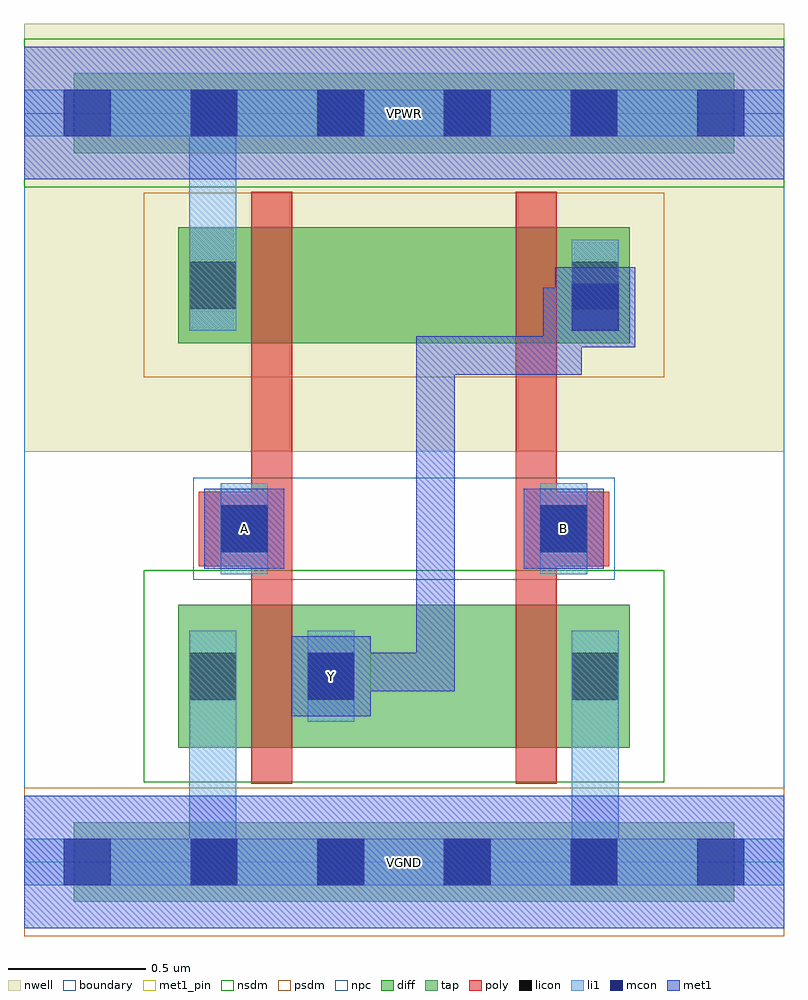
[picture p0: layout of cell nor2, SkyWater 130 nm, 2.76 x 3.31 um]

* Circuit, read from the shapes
.subckt nor2 A B VGND VPWR Y
XM1 Y A VGND VGND sky130_fd_pr__nfet_01v8 w=0.52 l=0.15
XM2 VGND B Y VGND sky130_fd_pr__nfet_01v8 w=0.52 l=0.15
XM3 n1 A VPWR VPWR sky130_fd_pr__pfet_01v8 w=0.42 l=0.15
XM4 Y B n1 VPWR sky130_fd_pr__pfet_01v8 w=0.42 l=0.15
.ends

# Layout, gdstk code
import gdstk
lib = gdstk.Library(unit=1e-6, precision=1e-09)
def R(c, l, rs):  # rectangles x0, y0, x1, y1
    for r in rs: c.add(gdstk.rectangle(r[:2], r[2:], *l))
def A(c, l, x, y, w, h, nx, ny, dx, dy):  # array of equal rectangles
    R(c, l, [(x+i*dx, y+j*dy, x+i*dx+w, y+j*dy+h) for i in range(nx) for j in range(ny)])
nwell = (64, 20)
diff = (65, 20)
tap = (65, 44)
poly = (66, 20)
licon = (66, 44)
li1 = (67, 20)
mcon = (67, 44)
met1_pin = (68, 16)
met1 = (68, 20)
nsdm = (93, 44)
psdm = (94, 20)
npc = (95, 20)
boundary = (235, 4)

nor2 = lib.new_cell('nor2')
R(nor2, nwell, [(0,1.49,2.76,3.045)])
R(nor2, diff, [(0.56,0.415,2.2,0.935), (0.56,1.885,2.2,2.305)])
R(nor2, tap, [(0.18,-0.145,2.58,0.145), (0.18,2.575,2.58,2.865)])
R(nor2, poly, [(0.825,0.285,0.975,2.435), (1.785,0.285,1.935,2.435), (0.635,1.075,0.965,1.345), (1.795,1.075,2.125,1.345)])
A(nor2, licon, 0.605, -0.085, 0.17, 0.17, 4, 2, 0.46, 2.72)
R(nor2, licon, [(0.6,0.59,0.77,0.76), (1.03,0.59,1.2,0.76), (1.99,0.59,2.16,0.76), (0.715,1.125,0.885,1.295), (1.875,1.125,2.045,1.295), (0.6,2.01,0.77,2.18), (1.99,2.01,2.16,2.18)])
R(nor2, li1, [(0,-0.085,2.76,0.085), (0.6,-0.085,0.77,0.84), (1.99,-0.085,2.16,0.84), (0.6,0.51,0.77,0.84), (1.03,0.51,1.2,0.84), (1.99,0.51,2.16,0.84), (0.715,1.045,0.885,1.375), (1.875,1.045,2.045,1.375), (0.6,1.93,0.77,2.26), (0.6,1.93,0.77,2.805), (1.99,1.93,2.16,2.26), (0,2.635,2.76,2.805)])
A(nor2, mcon, 0.145, -0.085, 0.17, 0.17, 6, 2, 0.46, 2.72)
R(nor2, mcon, [(1.03,0.59,1.2,0.76), (0.715,1.125,0.885,1.295), (1.875,1.125,2.045,1.295), (1.99,1.93,2.16,2.1)])
R(nor2, met1_pin, [(0,-0.24,2.76,0.24), (0.97,0.53,1.26,0.82), (0.655,1.065,0.945,1.355), (1.815,1.065,2.105,1.355), (0,2.48,2.76,2.96)])
R(nor2, met1, [(0,-0.24,2.76,0.24), (0.97,0.53,1.26,0.82), (1.08,0.62,1.22,0.76), (1.08,0.62,1.565,0.76), (1.425,0.62,1.565,1.91), (0.655,1.065,0.945,1.355), (1.815,1.065,2.105,1.355), (1.425,1.77,2.025,1.91), (1.885,1.77,2.025,2.085), (1.93,1.87,2.22,2.16), (1.885,1.91,2.025,1.945), (1.885,1.91,2.025,1.945), (1.885,1.91,2.025,1.945), (1.885,1.91,2.025,1.945), (1.885,1.91,2.025,1.945), (1.885,1.91,2.025,1.945), (1.885,1.945,2.145,2.085), (0,2.48,2.76,2.96)])
R(nor2, nsdm, [(0.435,0.29,2.325,1.06), (0,2.45,2.76,2.99)])
R(nor2, psdm, [(0,-0.27,2.76,0.27), (0.435,1.76,2.325,2.43)])
R(nor2, npc, [(0.615,1.025,2.145,1.395)])
R(nor2, boundary, [(0,0,2.76,2.72)])
nor2.add(gdstk.Label('A', (0.8,1.21), layer=68, texttype=5))
nor2.add(gdstk.Label('B', (1.96,1.21), layer=68, texttype=5))
nor2.add(gdstk.Label('Y', (1.115,0.675), layer=68, texttype=5))
nor2.add(gdstk.Label('VPWR', (1.38,2.72), layer=68, texttype=5))
nor2.add(gdstk.Label('VGND', (1.38,0), layer=68, texttype=5))
nor2.add(gdstk.Label('A', (0.8,1.21), layer=68, texttype=16))
nor2.add(gdstk.Label('B', (1.96,1.21), layer=68, texttype=16))
nor2.add(gdstk.Label('Y', (1.115,0.675), layer=68, texttype=16))
nor2.add(gdstk.Label('VPWR', (1.38,2.72), layer=68, texttype=16))
nor2.add(gdstk.Label('VGND', (1.38,0), layer=68, texttype=16))

lib.write_gds('nor2.gds')
